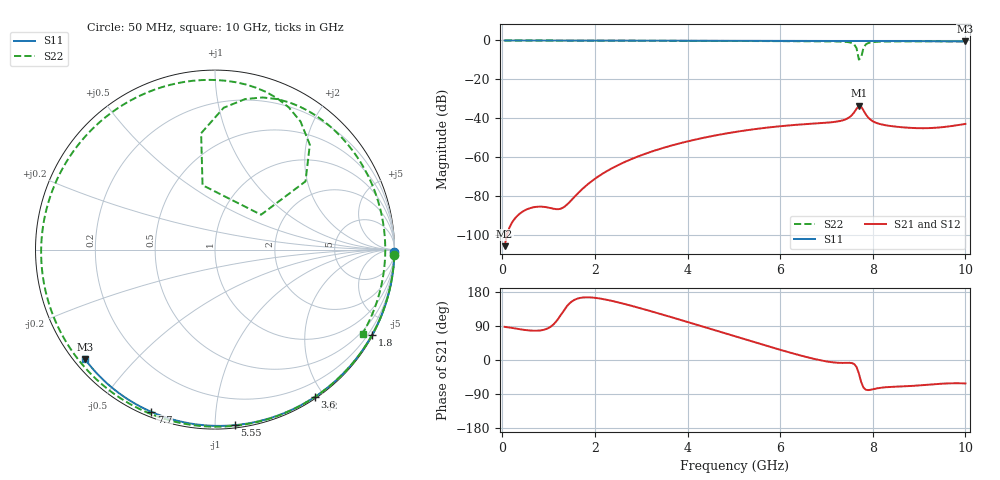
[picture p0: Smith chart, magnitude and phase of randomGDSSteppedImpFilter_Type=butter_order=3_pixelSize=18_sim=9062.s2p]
! freq	dB(S11)	phase(S11)	dB(S12)	phase(S12)
!  dB(S21)	phase(S21)	dB(S22)	phase(S22)
!S-par simulation data
#  GHz  S  DB  R 50
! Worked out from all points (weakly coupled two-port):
!   200 points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, 50 MHz to 10 GHz, reference 50 ohm
!   highest |S21| = -33.62 dB at 7.7 GHz (marker M1); lowest = -105.8 dB at 50 MHz (marker M2)
!   lowest |S11| = -0.5 dB at 10 GHz (marker M3), VSWR 36.97, Z = 1.53 - j18.3 ohm
!   |S11| at or under -10 dB: nowhere
!   |S22| runs from -9.8 to 0.0 dB; largest |S21 - S12| = 0
!   S11 on the Smith chart (normalised r, x): 50 MHz: open; 1.8 GHz: 0.03, -3.91; 3.6 GHz: 0.02, -1.88; 5.55 GHz: 0.02, -1.12; 7.7 GHz: 0.02, -0.68; 10 GHz: 0.03, -0.37
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0.05  -0.00 -0.8  -105.80 87.5  -105.80 87.5  -0.00 -1.8
0.75  -0.01 -12.1  -85.53 77.3  -85.53 77.3  -0.03 -26.6
1.55  -0.03 -24.7  -80.64 158.1  -80.64 158.1  -0.07 -54.4
1.75  -0.04 -27.9  -75.93 165.0  -75.93 165.0  -0.08 -61.3
1.8  -0.04 -28.7  -74.88 165.4  -74.88 165.4  -0.08 -63.0
2.45  -0.05 -38.7  -64.72 153.6  -64.72 153.6  -0.11 -85.1
3.4  -0.07 -53.0  -55.81 122.0  -55.81 122.0  -0.16 -117.3
3.6  -0.08 -56.0  -54.40 114.9  -54.40 114.9  -0.17 -124.1
5.05  -0.12 -76.6  -46.99 61.6  -46.99 61.6  -0.27 -176.0
5.55  -0.14 -83.5  -45.30 43.2  -45.30 43.2  -0.31 164.3
6.1  -0.16 -90.8  -43.88 23.4  -43.88 23.4  -0.36 141.0
6.7  -0.19 -98.7  -42.79 3.9  -42.79 3.9  -0.42 113.0
7.4  -0.23 -107.7  -40.69 -7.6  -40.69 -7.6  -0.69 72.1
7.6  -0.25 -110.2  -36.94 -10.8  -36.94 -10.8  -2.07 47.9
7.65  -0.25 -110.8  -35.13 -18.6  -35.13 -18.6  -3.99 37.0
7.7  -0.26 -111.4  -33.62 -35.7  -33.62 -35.7  -9.84 37.1
7.75  -0.26 -112.0  -33.99 -58.4  -33.99 -58.4  -8.74 101.0
7.8  -0.26 -112.7  -35.99 -73.0  -35.99 -73.0  -3.70 96.8
7.9  -0.27 -113.9  -39.60 -79.4  -39.60 -79.4  -1.35 78.6
8.35  -0.30 -119.5  -43.89 -71.3  -43.89 -71.3  -0.53 43.9
9.1  -0.37 -128.7  -45.13 -66.2  -45.13 -66.2  -0.46 6.9
10  -0.47 -139.7  -42.91 -61.8  -42.91 -61.8  -0.48 -29.7
